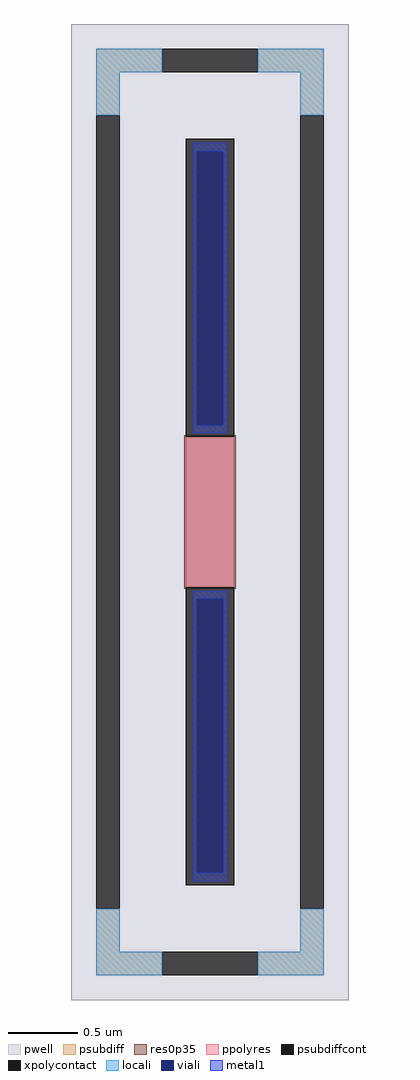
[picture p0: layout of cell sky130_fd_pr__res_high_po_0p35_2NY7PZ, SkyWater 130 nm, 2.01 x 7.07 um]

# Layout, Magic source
magic
tech sky130B
magscale 1 2
<< pwell >>
rect -201 -707 201 707
<< psubdiff >>
rect -165 637 -69 671
rect 69 637 165 671
rect -165 575 -131 637
rect 131 575 165 637
rect -165 -637 -131 -575
rect 131 -637 165 -575
rect -165 -671 -69 -637
rect 69 -671 165 -637
<< psubdiffcont >>
rect -69 637 69 671
rect -165 -575 -131 575
rect 131 -575 165 575
rect -69 -671 69 -637
<< xpolycontact >>
rect -35 109 35 541
rect -35 -541 35 -109
<< ppolyres >>
rect -35 -109 35 109
<< locali >>
rect -165 637 -69 671
rect 69 637 165 671
rect -165 575 -131 637
rect 131 575 165 637
rect -165 -637 -131 -575
rect 131 -637 165 -575
rect -165 -671 -69 -637
rect 69 -671 165 -637
<< viali >>
rect -19 126 19 523
rect -19 -523 19 -126
<< metal1 >>
rect -25 523 25 535
rect -25 126 -19 523
rect 19 126 25 523
rect -25 114 25 126
rect -25 -126 25 -114
rect -25 -523 -19 -126
rect 19 -523 25 -126
rect -25 -535 25 -523
<< res0p35 >>
rect -37 -111 37 111
<< properties >>
string FIXED_BBOX -148 -654 148 654
string gencell sky130_fd_pr__res_high_po_0p35
string library sky130
string parameters w 0.350 l 1.09 m 1 nx 1 wmin 0.350 lmin 0.50 rho 319.8 val 2.109k dummy 0 dw 0.0 term 194.82 sterm 0.0 caplen 0 guard 1 glc 1 grc 1 gtc 1 gbc 1 compatible {sky130_fd_pr__res_high_po_0p35  sky130_fd_pr__res_high_po_0p69 sky130_fd_pr__res_high_po_1p41  sky130_fd_pr__res_high_po_2p85 sky130_fd_pr__res_high_po_5p73} snake 0 full_metal 1 wmax 0.350 vias 1 n_guard 0 hv_guard 0 viagb 0 viagt 0 viagl 0 viagr 0
<< end >>
